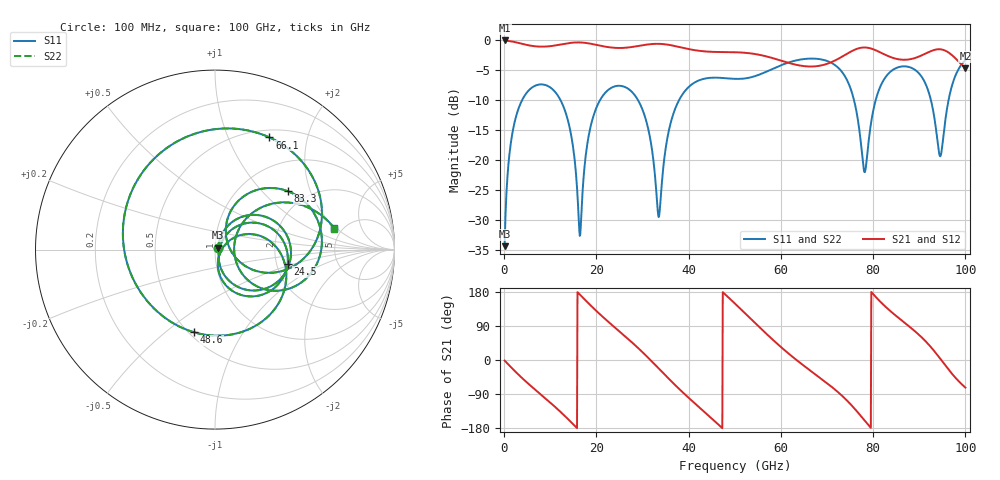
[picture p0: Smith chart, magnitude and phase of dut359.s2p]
! Touchstone file exported from HFSS 2026.1.0
!  File:  C:/ffzhzh/LocalFiles/Ansys_Project_Files/temp_train_TSV_RDL_359_1783710303_44652.aedt
!  Generated:  03:12:02 AM Jul 11, 2026
!  Design:  TSV_RDL
!  Project:  temp_train_TSV_RDL_359_1783710303_44652
! Variables:
!  h_bsmrdl = 4.53um
!  h_ox = 20um
!  h_rdl = 5um
!  h_sub = 66.22um
!  h_tmrdl = 4.81um
!  h_tsv = 66.22um
!  h_via = 3um
!  l_bsmrdl = 274.7um
!  l_sub = 3937.16um
!  l_tmrdl = 649.09um
!  m_sub = 200um
!  pitch = 41.4um
!  r_tsv = 5.31um
!  s_tmrdl = 10um
!  w_bsmrdl = 11.42um
!  w_sub = 500um
!  w_tmrdl = 27.48um
!  x_tsv_center1 = 662.83um
!  x_tsv_center2 = 948.95um
!  x_tsv_center3 = 1625.52um
!  x_tsv_center4 = 1911.64um
!  x_tsv_center5 = 2588.21um
!  x_tsv_center6 = 2874.33um
# GHz S MA R 50.000000
! Terminal data exported
! Port[1] = TM_RDL1_1_T1
! Port[2] = TM_RDL5_1_T1
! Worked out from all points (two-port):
!   1000 points, 100 MHz to 100 GHz, reference 50 ohm
!   highest |S21| = -0.14 dB at 100 MHz (marker M1); lowest = -4.8 dB at 100 GHz (marker M2)
!   |S21| within 3 dB of the highest: start of sweep to 58.48 GHz; 72.58 GHz to 84.71 GHz (12.14 GHz wide, 15.4 % of centre) (the widest 2 of 3)
!   lowest |S11| = -34.4 dB at 100 MHz (marker M3), VSWR 1.04, Z = 51.6 + j1.1 ohm
!   |S11| at or under -10 dB: 12.17 GHz to 20.84 GHz (8.679 GHz wide, 52.6 % of centre); 28.96 GHz to 37.97 GHz (9.009 GHz wide, 26.9 % of centre); 75.82 GHz to 80.58 GHz (4.756 GHz wide, 6.08 % of centre) (the widest 3 of 5)
!   |S22| runs from -34.4 to -3.2 dB; largest |S21 - S12| = 1.7e-14
!   S11 on the Smith chart (normalised r, x): 100 MHz: 1.03, +0.02; 24.5 GHz: 2.30, -0.44; 48.6 GHz: 0.53, -0.63; 66.1 GHz: 0.59, +1.43; 83.3 GHz: 1.59, +1.42; 100 GHz: 4.29, +1.89
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0.1  0.01904 33.9  0.9844 -1.4  0.9844 -1.4  0.01904 33.9
! Gamma 0 0 0 0
! Port Impedance 50 0 50 0
2.3  0.2079 54.7  0.9552 -29.0  0.9552 -29.0  0.2079 54.7
7.3  0.4206 2.6  0.8762 -84.3  0.8762 -84.3  0.4206 2.6
13.1  0.2618 -55.7  0.9236 -147.1  0.9236 -147.1  0.2617 -55.6
16.8  0.03929 39.6  0.9459 167.8  0.9459 167.8  0.03959 39.3
19.3  0.2272 40.4  0.9162 137.5  0.9162 137.5  0.2274 40.3
24.5  0.412 -11.2  0.8526 80.6  0.8526 80.6  0.4121 -11.2
30.3  0.2426 -68.3  0.9019 17.0  0.9019 17.0  0.2428 -68.1
33.4  0.03459 -38.7  0.923 -21.0  0.923 -21.0  0.03603 -38.1
39.7  0.3926 -10.2  0.8391 -96.4  0.8391 -96.4  0.3928 -10.5
48.6  0.475 -104.0  0.7874 165.5  0.7874 165.5  0.4754 -104.1
50.1  0.4713 -121.2  0.7854 148.2  0.7854 148.2  0.4717 -121.2
56  0.5238 168.3  0.7383 79.0  0.7383 79.0  0.5241 168.4
66.1  0.6948 64.1  0.5974 -25.4  0.5974 -25.4  0.6947 64.2
66.7  0.6956 58.9  0.5972 -30.8  0.5972 -30.8  0.6955 58.9
75.1  0.3917 -17.8  0.7923 -116.7  0.7923 -116.7  0.3916 -17.9
78.2  0.07872 23.7  0.8604 -160.3  0.8604 -160.3  0.07807 23.7
83.3  0.5203 38.7  0.7282 133.8  0.7282 133.8  0.52 38.7
83.4  0.5251 37.8  0.7256 132.7  0.7256 132.7  0.5248 37.8
90.5  0.4918 -24.4  0.7387 60.0  0.7387 60.0  0.4914 -24.5
94.1  0.1282 -26.6  0.8316 10.5  0.8316 10.5  0.1281 -26.6
100  0.6755 10.2  0.5767 -72.9  0.5767 -72.9  0.6757 10.0
